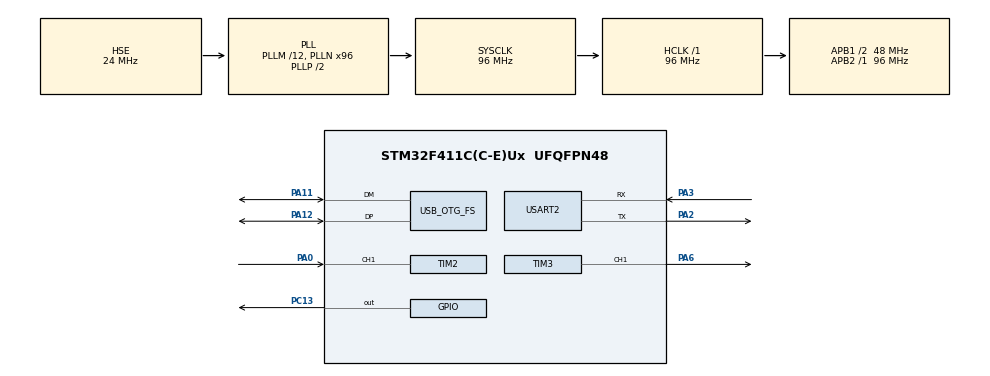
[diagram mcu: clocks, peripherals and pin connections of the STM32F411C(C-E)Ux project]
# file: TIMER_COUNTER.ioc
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Mcu.Family=STM32F4
Mcu.Name=STM32F411C(C-E)Ux
Mcu.Package=UFQFPN48
NVIC.OTG_FS_IRQn=true\:0\:0\:false\:false\:true\:false\:true\:true
NVIC.PriorityGroup=NVIC_PRIORITYGROUP_4
NVIC.TIM2_IRQn=true\:0\:0\:false\:false\:true\:true\:true\:true
NVIC.USART2_IRQn=true\:0\:0\:false\:false\:true\:true\:true\:true
PA0-WKUP.GPIO_PuPd=GPIO_PULLUP
PA0-WKUP.Signal=S_TIM2_CH1_ETR
PA11.Mode=Device_Only
PA11.Signal=USB_OTG_FS_DM
PA12.Mode=Device_Only
PA12.Signal=USB_OTG_FS_DP
PA13.Mode=Serial_Wire
PA13.Signal=SYS_JTMS-SWDIO
PA14.Mode=Serial_Wire
PA14.Signal=SYS_JTCK-SWCLK
PA2.Mode=Asynchronous
PA2.Signal=USART2_TX
PA3.Mode=Asynchronous
PA3.Signal=USART2_RX
PA6.Signal=S_TIM3_CH1
PC13-ANTI_TAMP.GPIO_PuPd=GPIO_PULLUP
PC13-ANTI_TAMP.Signal=GPIO_Output
PH0\ -\ OSC_IN.Mode=HSE-External-Oscillator
PH0\ -\ OSC_IN.Signal=RCC_OSC_IN
PH1\ -\ OSC_OUT.Mode=HSE-External-Oscillator
PH1\ -\ OSC_OUT.Signal=RCC_OSC_OUT
ProjectManager.HeapSize=0x200
ProjectManager.StackSize=0x400
ProjectManager.TargetToolchain=STM32CubeIDE
RCC.48MHZClocksFreq_Value=48000000
RCC.AHBFreq_Value=96000000
RCC.APB1CLKDivider=RCC_HCLK_DIV2
RCC.APB1Freq_Value=48000000
RCC.APB1TimFreq_Value=96000000
RCC.APB2Freq_Value=96000000
RCC.APB2TimFreq_Value=96000000
RCC.CortexFreq_Value=96000000
RCC.HCLKFreq_Value=96000000
RCC.HSE_VALUE=24000000
RCC.HSI_VALUE=16000000
RCC.LSE_VALUE=32768
RCC.PLLM=12
RCC.PLLN=96
RCC.SYSCLKFreq_VALUE=96000000
RCC.SYSCLKSource=RCC_SYSCLKSOURCE_PLLCLK
RCC.VCOOutputFreq_Value=192000000
SH.S_TIM2_CH1_ETR.0=TIM2_CH1,Input_Capture1_from_TI1
SH.S_TIM3_CH1.0=TIM3_CH1,PWM Generation1 CH1
TIM2.Channel-Input_Capture1_from_TI1=TIM_CHANNEL_1
TIM2.ICPolarity_CH1=TIM_INPUTCHANNELPOLARITY_RISING
TIM2.Prescaler=1-1
TIM3.Channel-PWM\ Generation1\ CH1=TIM_CHANNEL_1
TIM3.OCFastMode_PWM-PWM\ Generation1\ CH1=TIM_OCFAST_ENABLE
TIM3.OCPolarity_1=TIM_OCPOLARITY_LOW
TIM3.Period=1-1
TIM3.Prescaler=1-1
USART2.VirtualMode=VM_ASYNC
USB_DEVICE.CLASS_NAME_FS=CDC
USB_DEVICE.VirtualMode=Cdc
USB_DEVICE.VirtualModeFS=Cdc_FS
USB_OTG_FS.VirtualMode=Device_Only
VP_TIM2_VS_ClockSourceINT.Mode=Internal
VP_TIM3_VS_ClockSourceINT.Mode=Internal
VP_USB_DEVICE_VS_USB_DEVICE_CDC_FS.Mode=CDC_FS
board=custom

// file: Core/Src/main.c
/* USER CODE BEGIN Header */
/**
 ******************************************************************************
 * @file           : main.c
 * @brief          : Main program body
 ******************************************************************************
 * @attention
 *
 * Copyright (c) 2024 STMicroelectronics.
 * All rights reserved.
 *
 * This software is licensed under terms that can be found in the LICENSE file
 * in the root directory of this software component.
 * If no LICENSE file comes with this software, it is provided AS-IS.
 *
 ******************************************************************************
 */
/* USER CODE END Header */
#include "main.h"
#include "usb_device.h"

/* USER CODE BEGIN Includes */
#include <math.h>
/* USER CODE END Includes */

/* USER CODE BEGIN PD */
#define ARRMAX 65536
/* USER CODE END PD */

TIM_HandleTypeDef htim2;
TIM_HandleTypeDef htim3;
UART_HandleTypeDef huart2;

/* USER CODE BEGIN PV */
uint32_t counter = 0;
GPIO_PinState pinState;
char bufferCDC[500];
char bufferBT[500];
char bufferGenFreq[20];
char bufferFreq[20];
char bufferTimerClock[20];
uint8_t flag = 0, USB = 1, BT = 1;
uint16_t duty = 50;
uint32_t periodPrint;
uint32_t PSC, ARR, CCR;
uint32_t timerClock;
uint32_t period, currentCount, lastCountPrint, lastCount = 0;
float genFreq, frequency, freqPrint;
float dutyCycle = 0.0;
/* USER CODE END PV */

void SystemClock_Config(void);
static void MX_GPIO_Init(void);
static void MX_TIM2_Init(void);
static void MX_TIM3_Init(void);
static void MX_USART2_UART_Init(void);
/* USER CODE BEGIN PFP */
extern uint8_t CDC_Transmit_FS(uint8_t *Buf, uint16_t Len);
void freqGen(TIM_HandleTypeDef *htim, uint32_t freq);
void freqConv(float freq, char Buf[]);
void sendChar(char *c);
void btSendString(char *Buf);
/* USER CODE END PFP */

int main(void) {

	/* MCU Configuration--------------------------------------------------------*/

	/* Reset of all peripherals, Initializes the Flash interface and the Systick. */
	HAL_Init();

	/* Configure the system clock */
	SystemClock_Config();

	/* Initialize all configured peripherals */
	MX_GPIO_Init();
	MX_USB_DEVICE_Init();
	MX_TIM2_Init();
	MX_TIM3_Init();
	MX_USART2_UART_Init();
	/* USER CODE BEGIN 2 */
	timerClock = HAL_RCC_GetPCLK2Freq();
	uint32_t desiredFreq = 12000;
	freqGen(&htim3, desiredFreq);
	freqConv((float) timerClock, bufferTimerClock);
	freqConv(genFreq, bufferGenFreq);
	/* USER CODE END 2 */

	/* Infinite loop */
	/* USER CODE BEGIN WHILE */
	while (1) {
		counter++;
		freqConv(frequency, bufferFreq);

		USB = 1;
		if (USB) {
			//BufferCDC com CRLF para a porta USB
			sprintf(bufferCDC,
					"%d\n\r#########################\n\rFrequency Generator (Timer 3)\n\r"
							"Frequency: %s\n\r"
							"PSC: %d\n\rARR: %d\n\rCCR: %d\n\r"
							"Duty cycle (CCR / (ARR+1)): %.2f %%\n\r\n\r"
							"Frequency Counter (Timer2)\n\r"
							"Frequency: %s\n\r"
							"Timer Clock: %s\n\rNew CCR: %d\n\r"
							"Old CCR: %d\n\rDiff CCR (T in clock pulses): %d\n\r\n\r",
					counter, bufferFreq, PSC, ARR, CCR,
					(CCR / (float) (ARR + 1)) * 100.0, bufferGenFreq,
					bufferTimerClock, currentCount, lastCountPrint, period);
			CDC_Transmit_FS(bufferCDC, sizeof(bufferCDC));
		}
		BT = 1;
		if (BT) {
			//BufferBT com LF para o bluetooth
			sprintf(bufferBT,
					"%d\n\r#########################\n\rFrequency Generator (Timer 3)\n\r"
												"Frequency: %s\n\r"
												"PSC: %d\n\rARR: %d\n\rCCR: %d\n\r"
												"Duty cycle (CCR / (ARR+1)): %.2f %%\n\r\n\r"
												"Frequency Counter (Timer2)\n\r"
												"Frequency: %s\n\r"
												"Timer Clock: %s\n\rNew CCR: %d\n\r"
												"Old CCR: %d\n\rDiff CCR (T in clock pulses): %d\n\r\n\r",
					counter, bufferGenFreq, PSC, ARR, CCR,
					(CCR / (float) (ARR + 1)) * 100.0, bufferTimerClock,
					currentCount, lastCountPrint, period, bufferFreq);
			btSendString(bufferBT);
		}

		if (flag) {
			TIM2->CNT = 0;
			flag = 0;
		}

		HAL_Delay(1000);

		/* USER CODE END WHILE */

	}
}

void SystemClock_Config(void) {
	RCC_OscInitTypeDef RCC_OscInitStruct = { 0 };
	RCC_ClkInitTypeDef RCC_ClkInitStruct = { 0 };

	/** Configure the main internal regulator output voltage
	 */
	__HAL_RCC_PWR_CLK_ENABLE();
	__HAL_PWR_VOLTAGESCALING_CONFIG(PWR_REGULATOR_VOLTAGE_SCALE1);

	/** Initializes the RCC Oscillators according to the specified parameters
	 * in the RCC_OscInitTypeDef structure.
	 */
	RCC_OscInitStruct.OscillatorType = RCC_OSCILLATORTYPE_HSE;
	RCC_OscInitStruct.HSEState = RCC_HSE_ON;
	RCC_OscInitStruct.PLL.PLLState = RCC_PLL_ON;
	RCC_OscInitStruct.PLL.PLLSource = RCC_PLLSOURCE_HSE;
	RCC_OscInitStruct.PLL.PLLM = 12;
	RCC_OscInitStruct.PLL.PLLN = 96;
	RCC_OscInitStruct.PLL.PLLP = RCC_PLLP_DIV2;
	RCC_OscInitStruct.PLL.PLLQ = 4;
	if (HAL_RCC_OscConfig(&RCC_OscInitStruct) != HAL_OK) {
		Error_Handler();
	}

	/** Initializes the CPU, AHB and APB buses clocks
	 */
	RCC_ClkInitStruct.ClockType = RCC_CLOCKTYPE_HCLK | RCC_CLOCKTYPE_SYSCLK
			| RCC_CLOCKTYPE_PCLK1 | RCC_CLOCKTYPE_PCLK2;
	RCC_ClkInitStruct.SYSCLKSource = RCC_SYSCLKSOURCE_PLLCLK;
	RCC_ClkInitStruct.AHBCLKDivider = RCC_SYSCLK_DIV1;
	RCC_ClkInitStruct.APB1CLKDivider = RCC_HCLK_DIV2;
	RCC_ClkInitStruct.APB2CLKDivider = RCC_HCLK_DIV1;

	if (HAL_RCC_ClockConfig(&RCC_ClkInitStruct, FLASH_LATENCY_3) != HAL_OK) {
		Error_Handler();
	}
}

static void MX_TIM2_Init(void) {

	TIM_ClockConfigTypeDef sClockSourceConfig = { 0 };
	TIM_MasterConfigTypeDef sMasterConfig = { 0 };
	TIM_IC_InitTypeDef sConfigIC = { 0 };

	htim2.Instance = TIM2;
	htim2.Init.Prescaler = 1 - 1;
	htim2.Init.CounterMode = TIM_COUNTERMODE_UP;
	htim2.Init.Period = 4294967295;
	htim2.Init.ClockDivision = TIM_CLOCKDIVISION_DIV1;
	htim2.Init.AutoReloadPreload = TIM_AUTORELOAD_PRELOAD_DISABLE;
	if (HAL_TIM_Base_Init(&htim2) != HAL_OK) {
		Error_Handler();
	}
	sClockSourceConfig.ClockSource = TIM_CLOCKSOURCE_INTERNAL;
	if (HAL_TIM_ConfigClockSource(&htim2, &sClockSourceConfig) != HAL_OK) {
		Error_Handler();
	}
	if (HAL_TIM_IC_Init(&htim2) != HAL_OK) {
		Error_Handler();
	}
	sMasterConfig.MasterOutputTrigger = TIM_TRGO_RESET;
	sMasterConfig.MasterSlaveMode = TIM_MASTERSLAVEMODE_DISABLE;
	if (HAL_TIMEx_MasterConfigSynchronization(&htim2, &sMasterConfig)
			!= HAL_OK) {
		Error_Handler();
	}
	sConfigIC.ICPolarity = TIM_INPUTCHANNELPOLARITY_RISING;
	sConfigIC.ICSelection = TIM_ICSELECTION_DIRECTTI;
	sConfigIC.ICPrescaler = TIM_ICPSC_DIV1;
	sConfigIC.ICFilter = 0;
	if (HAL_TIM_IC_ConfigChannel(&htim2, &sConfigIC, TIM_CHANNEL_1) != HAL_OK) {
		Error_Handler();
	}

}

static void MX_TIM3_Init(void) {

	TIM_ClockConfigTypeDef sClockSourceConfig = { 0 };
	TIM_MasterConfigTypeDef sMasterConfig = { 0 };
	TIM_OC_InitTypeDef sConfigOC = { 0 };

	htim3.Instance = TIM3;
	htim3.Init.Prescaler = 1 - 1;
	htim3.Init.CounterMode = TIM_COUNTERMODE_UP;
	htim3.Init.Period = 1 - 1;
	htim3.Init.ClockDivision = TIM_CLOCKDIVISION_DIV1;
	htim3.Init.AutoReloadPreload = TIM_AUTORELOAD_PRELOAD_DISABLE;
	if (HAL_TIM_Base_Init(&htim3) != HAL_OK) {
		Error_Handler();
	}
	sClockSourceConfig.ClockSource = TIM_CLOCKSOURCE_INTERNAL;
	if (HAL_TIM_ConfigClockSource(&htim3, &sClockSourceConfig) != HAL_OK) {
		Error_Handler();
	}
	if (HAL_TIM_PWM_Init(&htim3) != HAL_OK) {
		Error_Handler();
	}
	sMasterConfig.MasterOutputTrigger = TIM_TRGO_RESET;
	sMasterConfig.MasterSlaveMode = TIM_MASTERSLAVEMODE_DISABLE;
	if (HAL_TIMEx_MasterConfigSynchronization(&htim3, &sMasterConfig)
			!= HAL_OK) {
		Error_Handler();
	}
	sConfigOC.OCMode = TIM_OCMODE_PWM1;
	sConfigOC.Pulse = 0;
	sConfigOC.OCPolarity = TIM_OCPOLARITY_LOW;
	sConfigOC.OCFastMode = TIM_OCFAST_ENABLE;
	if (HAL_TIM_PWM_ConfigChannel(&htim3, &sConfigOC, TIM_CHANNEL_1)
			!= HAL_OK) {
		Error_Handler();
	}
	HAL_TIM_MspPostInit(&htim3);

}

static void MX_USART2_UART_Init(void) {

	huart2.Instance = USART2;
	huart2.Init.BaudRate = 115200;
	huart2.Init.WordLength = UART_WORDLENGTH_8B;
	huart2.Init.StopBits = UART_STOPBITS_1;
	huart2.Init.Parity = UART_PARITY_NONE;
	huart2.Init.Mode = UART_MODE_TX_RX;
	huart2.Init.HwFlowCtl = UART_HWCONTROL_NONE;
	huart2.Init.OverSampling = UART_OVERSAMPLING_16;
	if (HAL_UART_Init(&huart2) != HAL_OK) {
		Error_Handler();
	}

}

static void MX_GPIO_Init(void) {
	GPIO_InitTypeDef GPIO_InitStruct = { 0 };

	/* GPIO Ports Clock Enable */
	__HAL_RCC_GPIOC_CLK_ENABLE();
	__HAL_RCC_GPIOH_CLK_ENABLE();
	__HAL_RCC_GPIOA_CLK_ENABLE();

	/*Configure GPIO pin Output Level */
	HAL_GPIO_WritePin(GPIOC, GPIO_PIN_13, GPIO_PIN_RESET);

	/*Configure GPIO pin : PC13 */
	GPIO_InitStruct.Pin = GPIO_PIN_13;
	GPIO_InitStruct.Mode = GPIO_MODE_OUTPUT_PP;
	GPIO_InitStruct.Pull = GPIO_PULLUP;
	GPIO_InitStruct.Speed = GPIO_SPEED_FREQ_LOW;
	HAL_GPIO_Init(GPIOC, &GPIO_InitStruct);

}

/* USER CODE BEGIN 4 */
void freqGen(TIM_HandleTypeDef *htim, uint32_t freq) {
	if (htim->Instance == TIM3) {
		uint32_t arr, psc = 1;
		while (1) {
			arr = timerClock / (freq * psc);
			if (arr <= ARRMAX) {
				break;
			}
			psc++;
		}

		genFreq = (float) freq;
		ARR = arr - 1;
		CCR = (ARR + 1) / 2;
		PSC = psc;

		htim->Instance->ARR = ARR;
		htim->Instance->PSC = psc - 1;
		htim->Instance->CCR1 = CCR;

		HAL_TIM_PWM_Start(htim, TIM_CHANNEL_1);
	}
	HAL_TIM_IC_Start_IT(&htim2, TIM_CHANNEL_1);
}

void freqConv(float freq, char Buf[]) {
	uint16_t oMagnitude = 0;
	while (freq >= 1000) {
		freq /= 1000.0;
		oMagnitude++;
	}

	switch (oMagnitude) {
	case 0:
		sprintf(Buf, "%.2f Hz", freq);
		break;
	case 1:
		sprintf(Buf, "%.2f KHz", freq);
		break;
	case 2:
		sprintf(Buf, "%.2f MHz", freq);
		break;
	case 3:
		sprintf(Buf, "%.2f GHz", freq);
		break;
	default:
		sprintf(Buf, "Out of range");
		break;
	}
}

void HAL_TIM_IC_CaptureCallback(TIM_HandleTypeDef *htim) {
	if (htim->Instance == TIM2) {
		flag = 1;
		uint32_t arr = TIM3->ARR;
		currentCount = HAL_TIM_ReadCapturedValue(htim, TIM_CHANNEL_1);
		if (lastCount != 0) {
			if (currentCount >= lastCount) {
				period = currentCount - lastCount;
			} else {
				period = (arr + currentCount) - lastCount + 1;
			}
			frequency = timerClock / (float) period;
		}
		lastCountPrint = lastCount; // Salva em lastCountPrint para mandar pela USB
		lastCount = currentCount;
	}
}

void btSend(char Buf[], uint16_t timeOut) {
	HAL_UART_Transmit(&huart2, Buf, strlen(Buf), 100);
	void freqGen(TIM_HandleTypeDef *htim, uint32_t freq) {
		if (htim->Instance == TIM3) {

			uint32_t arr, psc = 1;
			while (1) {
				arr = timerClock / (freq * psc);
				if (arr <= ARRMAX) {
					break;
				}
				psc++;
			}

			genFreq = (float) freq;
			ARR = timerClock / psc / freq - 1;
			CCR = (ARR + 1) / 2;

			htim->Instance->ARR = ARR;
			htim->Instance->PSC = psc - 1;
			htim->Instance->CCR1 = CCR;

			HAL_TIM_PWM_Start(htim, TIM_CHANNEL_1);
		}
		HAL_TIM_IC_Start_IT(&htim2, TIM_CHANNEL_1);
	}
}

void sendChar(char *c) {
	HAL_UART_Transmit(&huart2, (uint8_t*) c, 1, 10);
}

void btSendString(char *Buf) {
	// Loop through each character in the string until the null terminator
	while (*Buf) {
		sendChar(*Buf++);
		HAL_Delay(2);
	}
}

/* USER CODE END 4 */

void Error_Handler(void) {
	__disable_irq();
	while (1) {
	}
}
